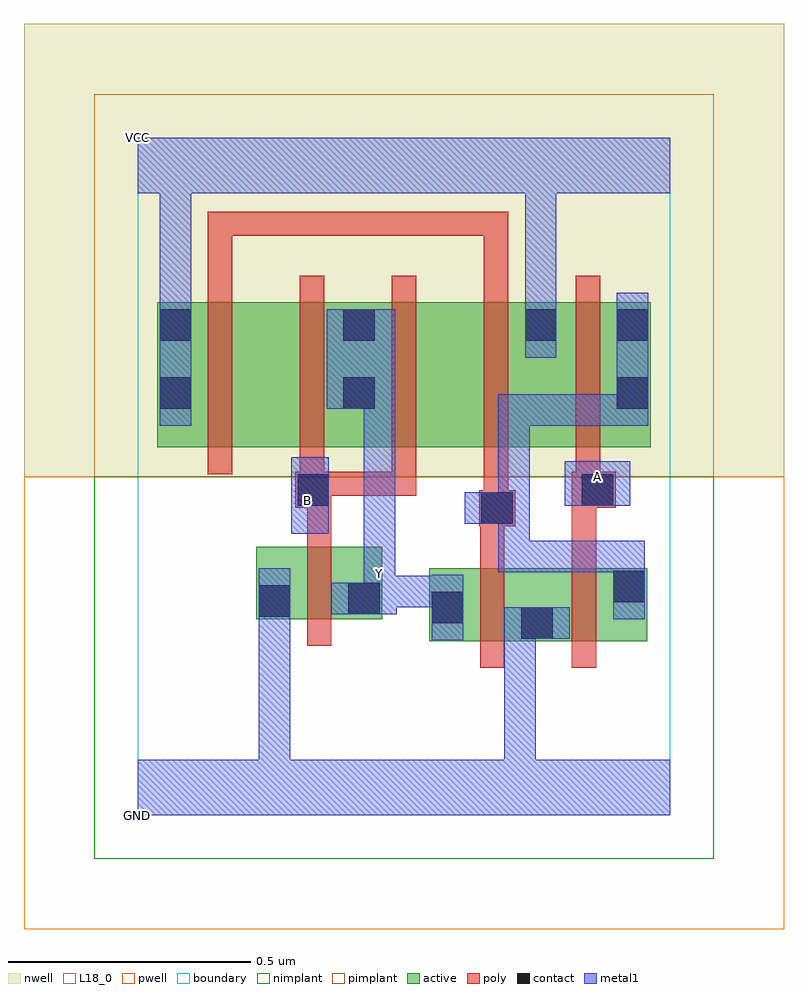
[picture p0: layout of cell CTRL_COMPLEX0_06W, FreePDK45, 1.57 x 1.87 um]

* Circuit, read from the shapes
.subckt CTRL_COMPLEX0_06W A B GND VCC Y
M1 Y B GND VSUBS nfet w=0.15u l=0.05u
M2 GND n1 Y VSUBS nfet w=0.15u l=0.05u
M3 n1 A GND VSUBS nfet w=0.15u l=0.05u
M4 n2 n1 VCC n3 pfet w=0.3u l=0.05u
M5 Y B n2 n3 pfet w=0.3u l=0.05u
M6 n4 B Y n3 pfet w=0.3u l=0.05u
M7 VCC n1 n4 n3 pfet w=0.3u l=0.05u
M8 n1 A VCC n3 pfet w=0.3u l=0.05u
.ends

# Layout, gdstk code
import gdstk
lib = gdstk.Library(unit=1e-6, precision=1e-09)
def R(c, l, rs):  # rectangles x0, y0, x1, y1
    for r in rs: c.add(gdstk.rectangle(r[:2], r[2:], *l))
def A(c, l, x, y, w, h, nx, ny, dx, dy):  # array of equal rectangles
    R(c, l, [(x+i*dx, y+j*dy, x+i*dx+w, y+j*dy+h) for i in range(nx) for j in range(ny)])
active = (1, 0)
pwell = (2, 0)
nwell = (3, 0)
nimplant = (4, 0)
pimplant = (5, 0)
poly = (9, 0)
contact = (10, 0)
metal1 = (11, 0)
L18_0 = (18, 0)
boundary = (235, 0)

ctrl_complex0_06w = lib.new_cell('CTRL_COMPLEX0_06W')
R(ctrl_complex0_06w, active, [(0.602,0.36,0.862,0.51), (0.602,0.36,0.677,0.51), (0.787,0.36,0.862,0.435), (0.787,0.36,1.052,0.51), (0.245,0.405,0.505,0.555), (0.245,0.405,0.32,0.555), (0.43,0.41,0.505,0.555), (0.977,0.435,1.052,0.51), (0.04,0.76,0.115,1.06), (0.04,0.76,0.265,1.06), (0.265,0.76,0.495,1.06), (0.42,0.76,0.495,1.06), (0.42,0.76,0.645,1.06), (0.645,0.76,0.87,1.06), (0.795,0.76,1.06,1.06), (0.795,0.76,0.87,1.06), (0.985,0.76,1.06,1.055)])
R(ctrl_complex0_06w, pwell, [(-0.235,-0.235,1.335,0.7)])
R(ctrl_complex0_06w, nwell, [(-0.235,0.7,1.335,1.635)])
R(ctrl_complex0_06w, nimplant, [(-0.09,-0.09,1.19,0.7)])
R(ctrl_complex0_06w, pimplant, [(-0.09,0.7,1.19,1.49)])
A(ctrl_complex0_06w, poly, 0.145, 0.705, 0.05, 0.41, 5, 1, 0.19, 0)
R(ctrl_complex0_06w, poly, [(0.707,0.305,0.757,0.565), (0.897,0.305,0.947,0.565), (0.35,0.35,0.4,0.61), (0.707,0.515,0.757,0.647), (0.897,0.515,0.947,0.685), (0.35,0.56,0.4,0.685), (0.705,0.597,0.78,0.672), (0.715,0.622,0.765,0.755), (0.325,0.635,0.4,0.71), (0.897,0.635,0.987,0.71), (0.335,0.66,0.385,0.755), (0.35,0.66,0.4,0.71), (0.35,0.66,0.4,0.71), (0.35,0.66,0.575,0.71), (0.525,0.66,0.575,0.755), (0.525,0.66,0.575,0.71), (0.905,0.66,0.955,0.755), (0.145,1.065,0.195,1.247), (0.715,1.065,0.765,1.247), (0.145,1.197,0.195,1.247), (0.145,1.197,0.195,1.247), (0.145,1.197,0.195,1.247), (0.145,1.197,0.4,1.247), (0.35,1.197,0.4,1.247), (0.35,1.197,0.4,1.247), (0.35,1.197,0.4,1.247), (0.35,1.197,0.532,1.247), (0.482,1.197,0.532,1.247), (0.482,1.197,0.765,1.247), (0.715,1.197,0.765,1.247), (0.715,1.197,0.765,1.247), (0.715,1.197,0.765,1.247)])
R(ctrl_complex0_06w, contact, [(0.792,0.365,0.857,0.43), (0.607,0.397,0.672,0.462), (0.25,0.41,0.315,0.475), (0.435,0.415,0.5,0.48), (0.982,0.44,1.047,0.505), (0.71,0.602,0.775,0.667), (0.33,0.64,0.395,0.705), (0.917,0.64,0.982,0.705), (0.045,0.84,0.11,0.905), (0.425,0.84,0.49,0.905), (0.99,0.84,1.055,0.905), (0.045,0.98,0.11,1.045), (0.425,0.98,0.49,1.045), (0.8,0.98,0.865,1.045), (0.99,0.98,1.055,1.045)])
R(ctrl_complex0_06w, metal1, [(0,0,1.1,0.115), (0.25,0.05,0.315,0.115), (0.25,0.05,0.315,0.115), (0.25,0.05,0.315,0.115), (0.25,0.05,0.315,0.115), (0.25,0.05,0.315,0.44), (0.757,0.05,0.822,0.115), (0.757,0.05,0.822,0.115), (0.757,0.05,0.822,0.115), (0.757,0.05,0.822,0.115), (0.757,0.05,0.822,0.115), (0.757,0.05,0.822,0.115), (0.757,0.05,0.822,0.43), (0.607,0.362,0.672,0.497), (0.757,0.365,0.892,0.43), (0.25,0.375,0.315,0.51), (0.25,0.375,0.315,0.462), (0.25,0.397,0.315,0.462), (0.982,0.405,1.047,0.54), (0.4,0.415,0.535,0.48), (0.467,0.415,0.532,0.48), (0.467,0.415,0.532,0.567), (0.47,0.415,0.535,0.48), (0.47,0.415,0.535,0.495), (0.47,0.43,0.672,0.495), (0.982,0.475,1.047,0.54), (0.982,0.475,1.047,0.567), (0.467,0.502,0.532,0.905), (0.745,0.502,0.81,0.567), (0.745,0.502,1.047,0.567), (0.745,0.502,0.81,0.667), (0.317,0.582,0.395,0.74), (0.675,0.602,0.81,0.667), (0.745,0.602,0.81,0.667), (0.745,0.602,0.81,0.667), (0.745,0.602,0.81,0.857), (0.882,0.64,1.017,0.732), (0.745,0.792,0.81,0.87), (0.045,0.805,0.11,1.08), (0.745,0.805,1.055,0.87), (0.99,0.805,1.055,0.87), (0.99,0.805,1.055,0.87), (0.99,0.805,1.055,1.08), (0.39,0.84,0.532,1.045), (0.8,0.945,0.865,1.08), (0.045,1.015,0.11,1.08), (0.045,1.015,0.11,1.08), (0.045,1.015,0.11,1.35), (0.8,1.015,0.865,1.08), (0.8,1.015,0.865,1.08), (0.8,1.015,0.865,1.35), (0,1.285,1.1,1.4)])
R(ctrl_complex0_06w, L18_0, [(0,0,1.1,0.115), (0.25,0.05,0.315,0.115), (0.25,0.05,0.315,0.115), (0.25,0.05,0.315,0.115), (0.25,0.05,0.315,0.115), (0.25,0.05,0.315,0.44), (0.757,0.05,0.822,0.115), (0.757,0.05,0.822,0.115), (0.757,0.05,0.822,0.115), (0.757,0.05,0.822,0.115), (0.757,0.05,0.822,0.115), (0.757,0.05,0.822,0.115), (0.757,0.05,0.822,0.43), (0.607,0.362,0.672,0.497), (0.757,0.365,0.892,0.43), (0.25,0.375,0.315,0.462), (0.25,0.375,0.315,0.51), (0.25,0.397,0.315,0.462), (0.4,0.415,0.535,0.48), (0.467,0.415,0.532,0.48), (0.467,0.415,0.532,0.567), (0.47,0.415,0.535,0.48), (0.47,0.415,0.535,0.495), (0.47,0.43,0.672,0.495), (0.467,0.467,0.532,0.532), (0.467,0.502,0.532,0.905), (0.317,0.582,0.395,0.74), (0.317,0.617,0.382,0.682), (0.882,0.64,1.017,0.732), (0.917,0.667,0.982,0.732), (0.045,0.805,0.11,1.08), (0.39,0.84,0.532,1.045), (0.8,0.945,0.865,1.08), (0.045,1.015,0.11,1.08), (0.045,1.015,0.11,1.08), (0.045,1.015,0.11,1.35), (0.8,1.015,0.865,1.08), (0.8,1.015,0.865,1.08), (0.8,1.015,0.865,1.35), (0,1.285,1.1,1.4)])
R(ctrl_complex0_06w, boundary, [(0,0,1.1,1.4)])
ctrl_complex0_06w.add(gdstk.Label('A', (0.95,0.7), layer=11, texttype=0))
ctrl_complex0_06w.add(gdstk.Label('B', (0.35,0.65), layer=11, texttype=0))
ctrl_complex0_06w.add(gdstk.Label('Y', (0.5,0.5), layer=11, texttype=0))
ctrl_complex0_06w.add(gdstk.Label('VCC', (0,1.4), layer=11, texttype=0))
ctrl_complex0_06w.add(gdstk.Label('GND', (0,0), layer=11, texttype=0))

lib.write_gds('CTRL_COMPLEX0_06W.gds')
